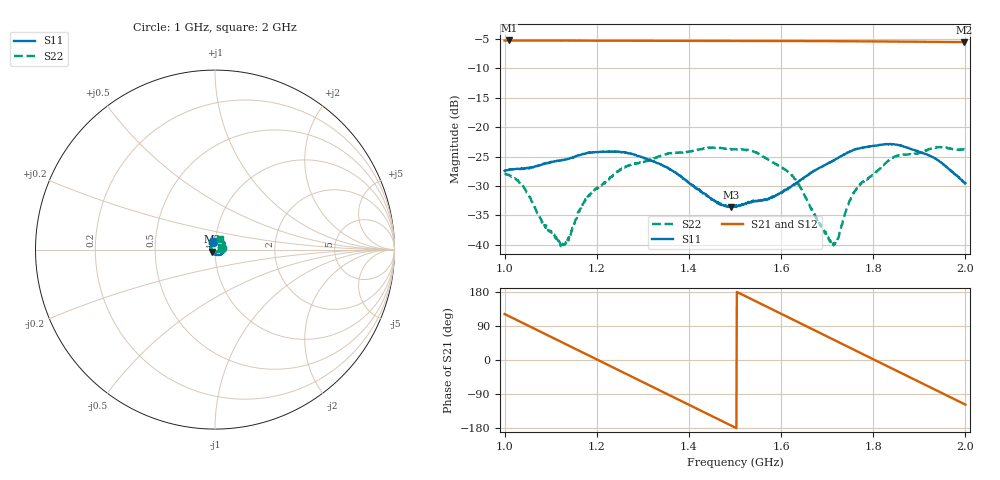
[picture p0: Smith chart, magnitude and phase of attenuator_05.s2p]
#  HZ  S  DB  R  50.00
! Rohde & Schwarz Vector Network Analyzer
! Rohde-Schwarz,ZNB8-4Port,1311601044102961,2.82
! Created: UTC 3/4/2022, 3:51:04 PM
! freq[Hz]  db:S11  ang:S11  db:S21  ang:S21  db:S12  ang:S12  db:S22  ang:S22
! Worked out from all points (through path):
!   1001 points, 1 GHz to 2 GHz, reference 50 ohm
!   highest |S21| = -5.25 dB at 1.009 GHz (marker M1); lowest = -5.5 dB at 1.998 GHz (marker M2)
!   group delay of S21, straight-line fit = 1.66 ns
!   lowest |S11| = -33.6 dB at 1.492 GHz (marker M3), VSWR 1.04, Z = 48.2 - j1.05 ohm
!   |S11| at or under -10 dB: start of sweep to end of sweep
!   |S22| runs from -40.2 to -23.4 dB; largest |S21 - S12| = 0.0015
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1e9  -27.43 107.6  -5.26 121.3  -5.24 121.3  -27.87 13.5
1.009e9  -27.27 105.8  -5.25 115.9  -5.25 115.9  -28.10 8.8
1.041e9  -27.04 97.4  -5.27 96.8  -5.25 96.8  -30.14 -6.8
1.066e9  -26.70 93.0  -5.27 81.7  -5.26 81.7  -33.64 -25.8
1.125e9  -25.61 77.4  -5.27 46.5  -5.27 46.4  -40.04 -122.7
1.14e9  -25.35 73.0  -5.28 37.5  -5.27 37.5  -38.69 -160.0
1.167e9  -24.66 63.7  -5.29 21.3  -5.28 21.3  -33.29 163.4
1.244e9  -24.18 31.4  -5.30 -24.8  -5.29 -24.8  -27.65 122.2
1.293e9  -24.95 5.1  -5.32 -54.1  -5.31 -54.1  -26.10 108.2
1.334e9  -26.16 -18.8  -5.32 -78.6  -5.32 -78.7  -24.98 94.4
1.405e9  -29.73 -66.2  -5.33 -121.2  -5.32 -121.1  -24.10 75.8
1.492e9  -33.63 -148.6  -5.34 -173.3  -5.34 -173.2  -23.81 48.6
1.5e9  -33.56 -154.4  -5.34 -178.0  -5.34 -178.0  -23.76 44.9
1.554e9  -32.52 168.6  -5.35 149.6  -5.34 149.6  -24.67 25.8
1.616e9  -30.37 147.0  -5.35 112.5  -5.35 112.4  -27.67 -5.3
1.667e9  -27.70 135.7  -5.36 81.8  -5.36 81.9  -33.95 -44.8
1.716e9  -25.58 119.2  -5.38 52.4  -5.37 52.4  -39.95 -142.0
1.758e9  -23.86 103.0  -5.40 27.2  -5.39 27.2  -31.23 152.5
1.834e9  -22.92 70.9  -5.43 -18.4  -5.44 -18.4  -25.63 111.5
1.919e9  -24.73 36.5  -5.49 -69.3  -5.48 -69.3  -23.82 83.7
1.998e9  -29.45 23.3  -5.54 -116.5  -5.53 -116.5  -23.71 66.6
2e9  -29.52 23.4  -5.53 -117.7  -5.53 -117.7  -23.74 66.0
